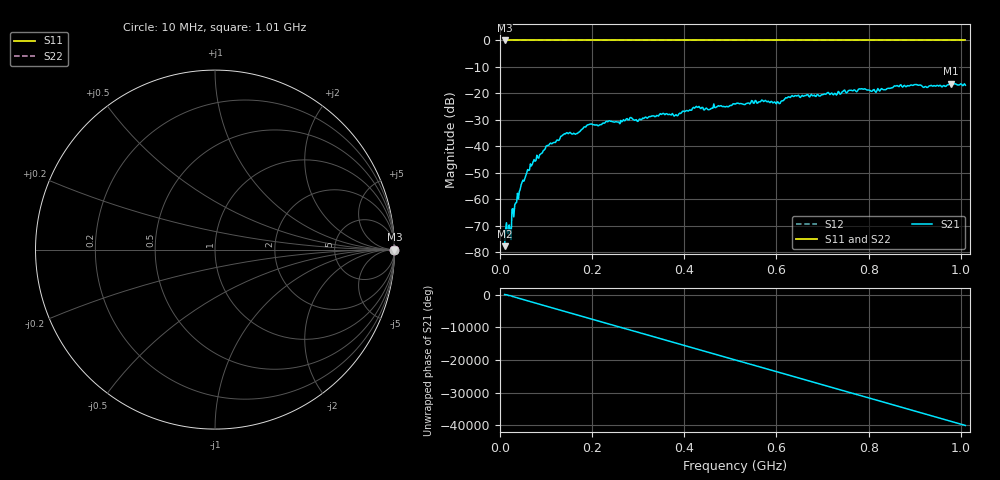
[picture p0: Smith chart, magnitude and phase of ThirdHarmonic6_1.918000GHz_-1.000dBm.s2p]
! 8/16/2025 11:07:59 PM
! C:\ANRITSUVNA\TEMP\TEMP.S2P
! CHANNEL.1
! TR.MEASUREMENT
! RAW.DATA
! RF.CORRECTION.OFF
! AVERAGING.OFF
! IF.BANDWIDTH: 5KHZ
! SWEEPTYPE:  FREQ.SWEEP(Linear)
! Reference Plane Port Info
! PORT:  PORT1  PORT2
! DISTANCE:  0  m  0  m
! TIME:  0  s  0  s
! PHASE.OFFSET:  0  deg.  0  deg.
! LOSS:  0  dB  0  dB
! REF.LOSS:  0  dB  0  dB
! REF.FREQ:  0  Hz  0  Hz
! Power Info
! POWER:  -20  dBm  -20  dBm
! EFF.POWER:  -20  dBm  -20  dBm
! SOURCE.ATTEN:  0  dB  0  dB
! TEST.ATTEN:  0  dB  0  dB
# GHZ S RI R 50.0
! FREQ.GHZ  S11RE  S11IM  S21RE  S21IM  S12RE  S12IM  S22RE  S22IM
!; PortSelection: Port_12
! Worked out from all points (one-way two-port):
!   501 points, 10 MHz to 1.01 GHz, reference 50 ohm
!   highest |S21| = -16.33 dB at 978 MHz (marker M1); lowest = -77.7 dB at 10 MHz (marker M2)
!   lowest |S11| = 0.0 dB at 10 MHz (marker M3)
!   |S11| at or under -10 dB: nowhere
!   |S22| runs from 0.0 to 0.0 dB; largest |S21 - S12| = 1.1
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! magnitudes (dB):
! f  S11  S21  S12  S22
! 10 MHz  0.0  -77.7  0.0  0.0
! 16 MHz  0.0  -72.6  0.0  0.0
! 20 MHz  0.0  -69.7  0.0  0.0
! 26 MHz  0.0  -63.8  0.0  0.0
! 30 MHz  0.0  -66.7  0.0  0.0
! 46 MHz  0.0  -54.5  0.0  0.0
! 70 MHz  0.0  -46.8  0.0  0.0
! 104 MHz  0.0  -39.6  0.0  0.0
! 136 MHz  0.0  -35.7  0.0  0.0
! 178 MHz  0.0  -33.5  0.0  0.0
! 194 MHz  0.0  -31.7  0.0  0.0
! 344 MHz  0.0  -28.5  0.0  0.0
! 382 MHz  0.0  -28.0  0.0  0.0
! 428 MHz  0.0  -25.2  0.0  0.0
! 454 MHz  0.0  -26.1  0.0  0.0
! 510 MHz  0.0  -24.1  0.0  0.0
! 604 MHz  0.0  -23.4  0.0  0.0
! 630 MHz  0.0  -21.5  0.0  0.0
! 678 MHz  0.0  -20.9  0.0  0.0
! 844 MHz  0.0  -18.1  0.0  0.0
! 978 MHz  0.0  -16.3  0.0  0.0
! 1.01 GHz  0.0  -16.9  0.0  0.0
